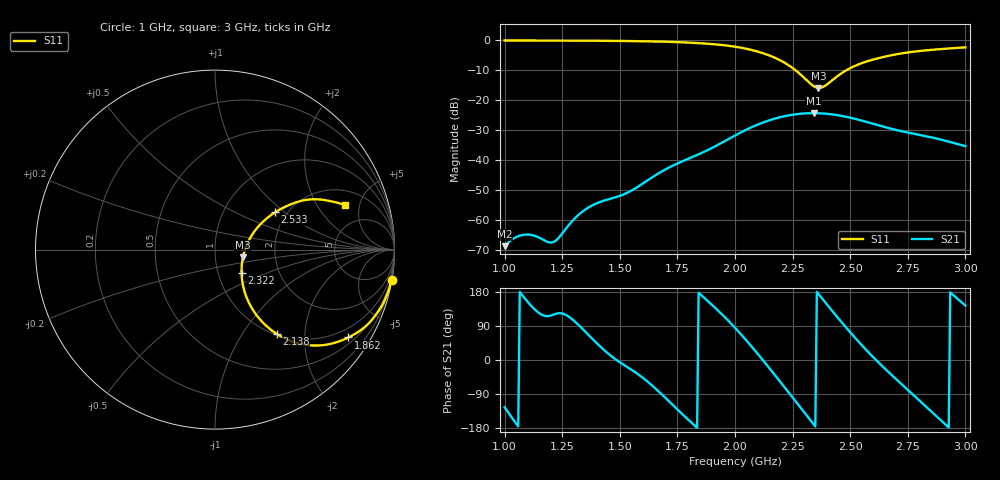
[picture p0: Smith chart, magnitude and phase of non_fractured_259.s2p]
! TOUCHSTONE file generated by CST MICROWAVE STUDIO
! Date and time: Sat Mar  8 13:55:54 2025
! Project name: non_fractured.cst
! Parameters = {B=2.5; D=160; F=10; Feed=2.85625; L=100; M=30; R=0.384908; S=1; Theta=180; length=57.125; wave=114.25}
! Header version: 2024
! Port assignment regex: !\s*Touchstone port\s*([0-9]+)\s*=\s*(CST MWS port|CST DES external port|CST DES block port)\s*(.+)\s* \(\"(.*)\"\)(\s*mode\s*([0-9]+))?.*
! Touchstone port assignment:
! Touchstone port 1 = CST MWS port 1 ("")
! Touchstone port 2 = CST MWS port 2 ("")
# GHz S DB R 50
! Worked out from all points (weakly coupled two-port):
!   305 points, 1 GHz to 3 GHz, reference 50 ohm
!   highest |S21| = -24.25 dB at 2.342 GHz (marker M1); lowest = -68.6 dB at 1 GHz (marker M2)
!   lowest |S11| = -15.8 dB at 2.362 GHz (marker M3), VSWR 1.38, Z = 68.2 - j5.87 ohm
!   |S11| at or under -10 dB: 2.263 GHz to 2.482 GHz (218.5 MHz wide, 9.21 % of centre)
!   S12 and S22 are empty: the file has one direction only
!   S11 on the Smith chart (normalised r, x): 1 GHz: 0, -12; 1.862 GHz: 0.68, -3.21; 2.138 GHz: 1.02, -1.44; 2.322 GHz: 1.29, -0.35; 2.533 GHz: 1.74, +0.85; 3 GHz: 3.04, +3.62
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1  -0.02 -9.8  -68.60 -124.6  -200.00 0.0  -200.00 0.0
1.03947  -0.03 -10.3  -66.00 -158.9  -200.00 0.0  -200.00 0.0
1.08553  -0.03 -11.0  -64.77 164.1  -200.00 0.0  -200.00 0.0
1.125  -0.04 -11.5  -65.01 136.8  -200.00 0.0  -200.00 0.0
1.21053  -0.05 -12.9  -67.25 119.3  -200.00 0.0  -200.00 0.0
1.33553  -0.09 -15.2  -57.20 83.7  -200.00 0.0  -200.00 0.0
1.40132  -0.12 -16.6  -54.26 43.5  -200.00 0.0  -200.00 0.0
1.53947  -0.22 -20.1  -50.53 -21.4  -200.00 0.0  -200.00 0.0
1.67105  -0.39 -24.4  -44.18 -84.4  -200.00 0.0  -200.00 0.0
1.86184  -1.01 -33.3  -37.29 166.7  -200.00 0.0  -200.00 0.0
2  -2.09 -42.8  -31.71 85.1  -200.00 0.0  -200.00 0.0
2.13816  -4.71 -53.8  -26.91 -13.2  -200.00 0.0  -200.00 0.0
2.23684  -8.49 -57.8  -24.94 -88.8  -200.00 0.0  -200.00 0.0
2.32237  -14.09 -41.6  -24.27 -155.1  -200.00 0.0  -200.00 0.0
2.33553  -14.93 -34.2  -24.25 -165.2  -200.00 0.0  -200.00 0.0
2.34211  -15.28 -29.9  -24.25 -170.3  -200.00 0.0  -200.00 0.0
2.36184  -15.85 -15.1  -24.28 174.6  -200.00 0.0  -200.00 0.0
2.38816  -15.27 4.4  -24.40 154.7  -200.00 0.0  -200.00 0.0
2.44737  -11.76 26.7  -24.95 110.7  -200.00 0.0  -200.00 0.0
2.53289  -8.10 31.8  -26.38 50.7  -200.00 0.0  -200.00 0.0
2.67105  -5.07 29.3  -29.33 -34.6  -200.00 0.0  -200.00 0.0
3  -2.32 18.8  -35.25 143.9  -200.00 0.0  -200.00 0.0
